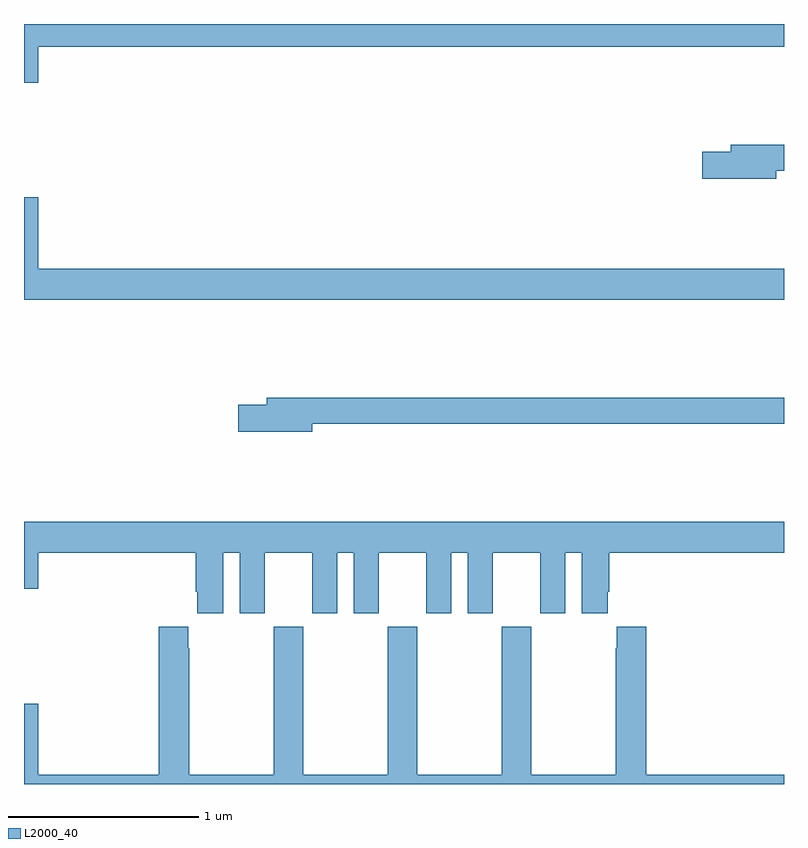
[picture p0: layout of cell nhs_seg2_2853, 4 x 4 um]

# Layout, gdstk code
import gdstk
lib = gdstk.Library(unit=1e-6, precision=1e-09)
def P(c, l, *ps):  # polygons
    for p in ps: c.add(gdstk.Polygon(p, *l))
L2000_40 = (2000, 40)

nhs_seg2_2853 = lib.new_cell('nhs_seg2_2853')
P(nhs_seg2_2853, L2000_40, [(261.076,603.68),(265,603.68),(265,603.8),(261,603.8),(261,603.492),(261.076,603.492)],
  [(264.958,603.028),(265,603.028),(265,603.164),(264.719,603.164),(264.719,603.128),(264.57,603.128),(264.57,602.986),(264.958,602.986)],
  [(265,602.512),(261.076,602.512),(261.076,602.887),(261,602.887),(261,602.348),(265,602.348)],
  [(262.516,601.696),(265,601.696),(265,601.832),(262.277,601.832),(262.277,601.796),(262.128,601.796),(262.128,601.654),(262.516,601.654)],
  [(262.048,601.016),(262.136,601.016),(262.136,600.699),(262.267,600.699),(262.267,601.016),(262.517,601.016),(262.517,600.699),(262.648,600.699),(262.648,601.016),(262.736,601.016),(262.736,600.699),(262.867,600.699),(262.867,601.016),(263.117,601.016),(263.117,600.699),(263.248,600.699),(263.248,601.016),(263.336,601.016),(263.336,600.699),(263.467,600.699),(263.467,601.016),(263.717,601.016),(263.717,600.699),(263.848,600.699),(263.848,601.016),(263.936,601.016),(263.936,600.699),(264.073,600.699),(264.073,600.811),(264.08,600.811),(264.08,601.016),(265,601.016),(265,601.18),(261,601.18),(261,600.828),(261.076,600.828),(261.076,601.016),(261.904,601.016),(261.904,600.811),(261.911,600.811),(261.911,600.699),(262.048,600.699)],
  [(265,599.848),(264.275,599.848),(264.275,600.628),(264.119,600.628),(264.119,600.515),(264.115,600.515),(264.115,599.848),(263.67,599.848),(263.67,600.628),(263.515,600.628),(263.515,599.848),(263.07,599.848),(263.07,600.628),(262.915,600.628),(262.915,599.848),(262.47,599.848),(262.47,600.628),(262.315,600.628),(262.315,599.848),(261.87,599.848),(261.87,600.515),(261.865,600.515),(261.865,600.628),(261.71,600.628),(261.71,599.848),(261.076,599.848),(261.076,600.223),(261,600.223),(261,599.8),(265,599.8)])

lib.write_gds('nhs_seg2_2853.gds')
